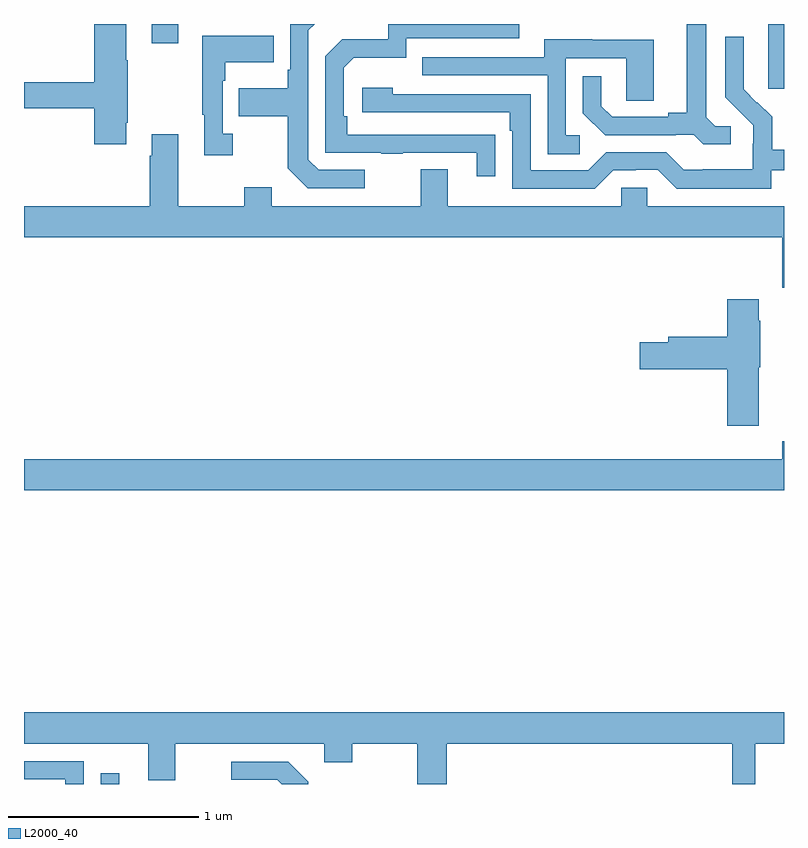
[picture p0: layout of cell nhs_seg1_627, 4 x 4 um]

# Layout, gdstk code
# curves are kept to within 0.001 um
import gdstk
lib = gdstk.Library(unit=1e-6, precision=1e-09)
def R(c, l, rs):  # rectangles x0, y0, x1, y1
    for r in rs: c.add(gdstk.rectangle(r[:2], r[2:], *l))
def P(c, l, *ps):  # polygons
    for p in ps: c.add(gdstk.Polygon(p, *l))
L2000_40 = (2000, 40)

nhs_seg1_627 = lib.new_cell('nhs_seg1_627')
R(nhs_seg1_627, L2000_40, [(145.405,538.199,145.501,538.255), (148.916,541.857,149,542.199), (145.673,542.097,145.813,542.199)])
P(nhs_seg1_627, L2000_40, [(145.537,541.678),(145.545,541.678),(145.545,542.009),(145.537,542.009),(145.537,542.199),(145.37,542.199),(145.37,541.892),(145,541.892),(145,541.756),(145.37,541.756),(145.37,541.566),(145.537,541.566)],
  [(148.72,541.662),(148.638,541.662),(148.591,541.709),(148.591,542.199),(148.487,542.199),(148.487,541.733),(148.391,541.733),(148.391,541.71),(148.096,541.71),(148.039,541.767),(148.039,541.924),(147.942,541.924),(147.942,541.73),(148.058,541.614),(148.43,541.614),(148.43,541.617),(148.524,541.617),(148.576,541.565),(148.72,541.565)],
  [(147.479,541.616),(146.702,541.617),(146.702,541.714),(146.682,541.714),(146.682,541.968),(146.735,542.021),(147.012,542.021),(147.012,542.124),(147.607,542.124),(147.607,542.199),(146.916,542.199),(146.916,542.118),(146.676,542.118),(146.586,542.028),(146.586,541.521),(146.881,541.521),(146.881,541.516),(146.993,541.516),(146.993,541.521),(147.383,541.521),(147.383,541.398),(147.479,541.398)],
  [(146.794,541.431),(146.55,541.431),(146.496,541.485),(146.496,542.166),(146.529,542.199),(146.4,542.199),(146.4,541.957),(146.388,541.957),(146.388,541.861),(146.131,541.861),(146.131,541.714),(146.388,541.714),(146.388,541.441),(146.493,541.335),(146.794,541.335)],
  [(146.098,541.622),(146.046,541.622),(146.046,541.901),(146.059,541.901),(146.059,541.997),(146.315,541.997),(146.315,542.137),(145.938,542.137),(145.938,541.721),(145.949,541.721),(145.949,541.509),(146.098,541.509)],
  [(148.932,541.428),(149,541.428),(149,541.537),(148.937,541.537),(148.937,541.711),(148.86,541.788),(148.857,541.785),(148.787,541.856),(148.788,542.132),(148.692,542.132),(148.692,541.814),(148.838,541.666),(148.838,541.569),(148.836,541.569),(148.836,541.435),(148.573,541.435),(148.573,541.431),(148.473,541.431),(148.38,541.524),(148.065,541.524),(147.969,541.428),(147.666,541.428),(147.666,541.83),(146.942,541.83),(146.942,541.864),(146.781,541.864),(146.781,541.734),(147.557,541.734),(147.557,541.637),(147.57,541.637),(147.57,541.332),(148.005,541.332),(148.101,541.428),(148.22,541.428),(148.22,541.431),(148.335,541.431),(148.435,541.331),(148.932,541.331)],
  [(147.925,541.614),(147.852,541.614),(147.852,542.019),(148.17,542.019),(148.17,541.795),(148.315,541.795),(148.315,542.115),(147.991,542.115),(147.991,542.119),(147.737,542.119),(147.737,542.025),(147.097,542.025),(147.097,541.929),(147.756,541.929),(147.756,541.513),(147.925,541.513)],
  [(149,541.24),(148.281,541.24),(148.281,541.338),(148.143,541.338),(148.143,541.24),(147.229,541.24),(147.229,541.435),(147.089,541.435),(147.089,541.24),(146.305,541.24),(146.305,541.339),(146.158,541.339),(146.158,541.24),(145.813,541.24),(145.813,541.618),(145.673,541.618),(145.673,541.505),(145.661,541.505),(145.661,541.24),(145,541.24),(145,541.076),(148.991,541.076),(148.991,540.811),(149,540.811)],
  [(148.867,540.393),(148.875,540.393),(148.875,540.638),(148.867,540.638),(148.867,540.751),(148.7,540.751),(148.7,540.554),(148.391,540.554),(148.391,540.524),(148.242,540.524),(148.242,540.382),(148.7,540.382),(148.7,540.084),(148.867,540.084)],
  [(149,540.004),(148.991,540.004),(148.991,539.908),(145,539.908),(145,539.744),(149,539.744)],
  [(147.224,538.412),(148.728,538.412),(148.728,538.199),(148.849,538.199),(148.849,538.412),(149,538.412),(149,538.576),(145,538.576),(145,538.412),(145.655,538.412),(145.655,538.218),(145.795,538.218),(145.795,538.412),(146.579,538.412),(146.579,538.313),(146.727,538.313),(146.727,538.412),(147.071,538.412),(147.071,538.199),(147.224,538.199)],
  [(145.314,538.32),(145,538.32),(145,538.224),(145.218,538.224),(145.218,538.199),(145.314,538.199)],
  [(146.497,538.211),(146.391,538.317),(146.091,538.317),(146.091,538.221),(146.334,538.221),(146.356,538.199),(146.497,538.199)])

lib.write_gds('nhs_seg1_627.gds')
